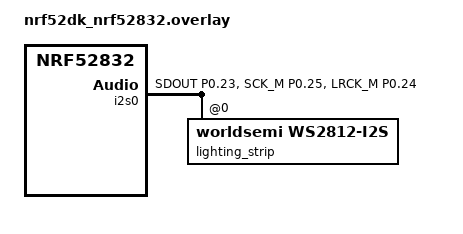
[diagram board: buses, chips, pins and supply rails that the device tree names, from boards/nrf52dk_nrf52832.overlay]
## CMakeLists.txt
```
cmake_minimum_required(VERSION 3.20.0)
find_package(Zephyr REQUIRED HINTS $ENV{ZEPHYR_BASE})

project(meshlight)

zephyr_get(MESHLIGHT_VERSION)
zephyr_get(MESHLIGHT_GIT_SHA)
set(MESHLIGHT_VERSION "${MESHLIGHT_VERSION}" CACHE STRING "Resolved firmware SemVer (CI override)")
set(MESHLIGHT_GIT_SHA "${MESHLIGHT_GIT_SHA}" CACHE STRING "Firmware source revision (CI override)")
find_package(Python3 REQUIRED COMPONENTS Interpreter)
find_package(Git REQUIRED)
if(NOT MESHLIGHT_VERSION)
  # Reconfigure the generated header when commits, refs, tags, or the resolver change.
  execute_process(COMMAND ${GIT_EXECUTABLE} rev-parse --absolute-git-dir
    WORKING_DIRECTORY ${CMAKE_CURRENT_SOURCE_DIR}
    OUTPUT_VARIABLE meshlight_git_dir OUTPUT_STRIP_TRAILING_WHITESPACE
    COMMAND_ERROR_IS_FATAL ANY)
  execute_process(COMMAND ${GIT_EXECUTABLE} rev-parse --path-format=absolute --git-common-dir
    WORKING_DIRECTORY ${CMAKE_CURRENT_SOURCE_DIR}
    OUTPUT_VARIABLE meshlight_git_common OUTPUT_STRIP_TRAILING_WHITESPACE
    COMMAND_ERROR_IS_FATAL ANY)
  file(GLOB_RECURSE meshlight_git_refs CONFIGURE_DEPENDS
    "${meshlight_git_common}/refs/heads/*" "${meshlight_git_common}/refs/tags/*")
  set_property(DIRECTORY APPEND PROPERTY CMAKE_CONFIGURE_DEPENDS
    "${CMAKE_CURRENT_SOURCE_DIR}/../VERSION"
    "${CMAKE_CURRENT_SOURCE_DIR}/../scripts/version.py"
    "${meshlight_git_dir}/HEAD" ${meshlight_git_refs})
  if(EXISTS "${meshlight_git_common}/packed-refs")
    set_property(DIRECTORY APPEND PROPERTY CMAKE_CONFIGURE_DEPENDS
      "${meshlight_git_common}/packed-refs")
  endif()
  execute_process(
    COMMAND ${Python3_EXECUTABLE} ${CMAKE_CURRENT_SOURCE_DIR}/../scripts/version.py --format version
    OUTPUT_VARIABLE MESHLIGHT_VERSION OUTPUT_STRIP_TRAILING_WHITESPACE
    COMMAND_ERROR_IS_FATAL ANY)
endif()
if(NOT MESHLIGHT_VERSION MATCHES "^[0-9]+\\.[0-9]+\\.[0-9]+[-+a-zA-Z0-9.]*$")
  message(FATAL_ERROR "Invalid MESHLIGHT_VERSION: ${MESHLIGHT_VERSION}")
endif()
if(NOT MESHLIGHT_GIT_SHA)
  execute_process(COMMAND ${GIT_EXECUTABLE} rev-parse HEAD
    WORKING_DIRECTORY ${CMAKE_CURRENT_SOURCE_DIR}
    OUTPUT_VARIABLE MESHLIGHT_GIT_SHA OUTPUT_STRIP_TRAILING_WHITESPACE
    COMMAND_ERROR_IS_FATAL ANY)
endif()
if(NOT MESHLIGHT_GIT_SHA MATCHES "^[0-9a-f]+$")
  message(FATAL_ERROR "Invalid MESHLIGHT_GIT_SHA: ${MESHLIGHT_GIT_SHA}")
endif()
configure_file(cmake/meshlight_version.h.in generated/meshlight_version.h @ONLY)
target_include_directories(app PRIVATE src ${CMAKE_CURRENT_BINARY_DIR}/generated)
message(STATUS "Meshlight version: ${MESHLIGHT_VERSION} (${MESHLIGHT_GIT_SHA})")

target_sources(app PRIVATE src/main.c)
add_subdirectory(src/storage)
add_subdirectory(src/lighting)
if(CONFIG_MESHLIGHT_MESH)
  add_subdirectory(src/mesh)
  add_subdirectory(src/device_control)
endif()
```

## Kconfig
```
# SPDX-License-Identifier: MIT

# Shared lighting options for the application and its production-module tests.
mainmenu "Meshlight configuration"

source "Kconfig.zephyr"

# Keep the optional command shell within the nRF52832's 64 KiB RAM budget.
config SHELL_MINIMAL
	default y if BOARD_NRF52DK_NRF52832
	depends on SHELL

menuconfig MESHLIGHT_MESH
	bool "Bluetooth Mesh lighting control"
	default n
	select HWINFO
	select GPIO
	select REBOOT

if MESHLIGHT_MESH
config MESHLIGHT_COMPANY_ID
	hex "Mesh company identifier (0xffff is the development placeholder)"
	default 0xffff
	range 0x0000 0xffff

config MESHLIGHT_MODEL_ID
	hex "Meshlight vendor model identifier"
	default 0x0001
	range 0x0000 0xffff

config MESHLIGHT_STM32WB_RNG_FIX
	bool "Protect STM32WB RNG clock and register access from CPU2"
	depends on BOARD_NUCLEO_WB55RG && BT_STM32_IPM && ENTROPY_STM32_RNG
	default y
	help
	  Correct the NCS 3.3.0 entropy driver's acquire order for the shared RNG.
	  Take the RNG hardware semaphore and restore its source clock before
	  accessing registers. CPU2 can switch that source clock off between uses.
	  The build generates a corrected driver without changing the SDK checkout.

config MESHLIGHT_STM32WB_PROXY_TX_FIX
	bool "Complete failed advertising sends after a GATT proxy start"
	depends on BOARD_NUCLEO_WB55RG && BT_STM32_IPM && BT_MESH_ADV_EXT && BT_MESH_GATT_PROXY
	default y
	help
	  Correct the NCS 3.3.0 mesh advertiser's failure callback when GATT has
	  already started the same packet. Without completion, a segmented reply
	  can remain stuck after the controller rejects advertising. Report the
	  actual advertising error and let transport continue or retry. The build
	  generates a corrected advertiser without changing the SDK checkout.

endif

menu "Lighting"

config LIGHTING_SAVE_DELAY_MS
	int "Quiet period before saving lighting (milliseconds)"
	default 1000
	range 1 60000

config LIGHTING_SAVE_RETRY_MS
	int "Delay before retrying a failed lighting save (milliseconds)"
	default 5000
	range 1 60000

config LIGHTING_PERSISTENCE_STACK_SIZE
	int "Lighting persistence worker stack size (bytes)"
	default 3072
	range 1024 8192

config LIGHTING_AUTO_REFRESH
	bool "Automatically refresh the LED strip"
	default y
	depends on LED_STRIP && MULTITHREADING
	select TIMEOUT_64BIT
	select LOG_RATELIMIT if LOG
	help
	  Start a private lighting thread after successful lighting initialization.
	  Setters update requested values, which appear on the next refresh.
	  Disable to use synchronous lighting_apply() calls exclusively.
	  Manual flushes remain available when the worker is enabled.

if LIGHTING_AUTO_REFRESH

config LIGHTING_REFRESH_INTERVAL_MS
	int "Lighting refresh interval (milliseconds)"
	default 50
	range 1 1000
	help
	  Time between scheduled frame starts. Late transfers skip missed slots
	  rather than queueing frames. This does not change WS2812 signal timing.

config LIGHTING_REFRESH_STACK_SIZE
	int "Lighting refresh thread stack size (bytes)"
	default 1536
	range 512 8192
	help
	  Statically allocated supervisor stack for rendering, the synchronous
	  strip driver, and rate-limited error logging. Adjust for the driver used.

endif # LIGHTING_AUTO_REFRESH

endmenu

config MESHLIGHT_DEV_SHELL
	bool "Developer UART shell"
	default n
	select SHELL
	select SHELL_BACKEND_SERIAL if !ZTEST
	help
	  Enable lighting commands over the board's existing debugger UART.
	  Disabled builds contain no developer shell commands or transport.
	  Use dev_shell.conf to enable this option in a developer build.
	  Commands use the lighting API and its normal background save policy.
```

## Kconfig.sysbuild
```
# SPDX-License-Identifier: MIT

config NRF_DEFAULT_IPC_RADIO
	default y

config NETCORE_IPC_RADIO_BT_HCI_IPC
	default y

# The board overlays own the standalone application and Settings partitions.
config PARTITION_MANAGER
	default n

source "share/sysbuild/Kconfig"
```

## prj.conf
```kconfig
# Shared lighting support; hardware-specific transport belongs in boards/.
CONFIG_LED_STRIP=y
CONFIG_LOG=y
CONFIG_BUILD_OUTPUT_HEX=y
CONFIG_BUILD_OUTPUT_BIN=y
CONFIG_FLASH=y
CONFIG_FLASH_MAP=y
CONFIG_FLASH_PAGE_LAYOUT=y
CONFIG_USE_DT_CODE_PARTITION=y
CONFIG_SETTINGS=y
CONFIG_ZCBOR=y
CONFIG_ZCBOR_CANONICAL=y
CONFIG_LOG_RATELIMIT=y

# One portable mesh element, independent of strip length.
CONFIG_MESHLIGHT_MESH=y
CONFIG_BT=y
CONFIG_BT_MESH=y
CONFIG_BT_SETTINGS=y
CONFIG_BT_DEVICE_NAME="Meshlight"
CONFIG_BT_OBSERVER=y
CONFIG_BT_BROADCASTER=y
CONFIG_BT_PERIPHERAL=y
CONFIG_BT_MAX_CONN=1
CONFIG_BT_MESH_PB_GATT=y
CONFIG_BT_MESH_PB_ADV=y
CONFIG_BT_MESH_RELAY=y
CONFIG_BT_MESH_RELAY_ENABLED=y
CONFIG_BT_MESH_GATT_PROXY=y
CONFIG_BT_MESH_GATT_PROXY_ENABLED=y
CONFIG_BT_MESH_BEACON_ENABLED=y
CONFIG_BT_MESH_DEFAULT_TTL=7
CONFIG_BT_MESH_LOW_POWER=n
CONFIG_BT_MESH_FRIEND=n
CONFIG_BT_MESH_CRPL=32
CONFIG_BT_MESH_SUBNET_COUNT=2
CONFIG_BT_MESH_APP_KEY_COUNT=2
# Allow both subnet key generations and temporary crypto keys during refresh.
CONFIG_MBEDTLS_PSA_KEY_SLOT_COUNT=32
CONFIG_BT_MESH_MODEL_KEY_COUNT=2
CONFIG_BT_MESH_MODEL_GROUP_COUNT=4
CONFIG_BT_MESH_ADV_BUF_COUNT=20
CONFIG_BT_MESH_TX_SEG_MAX=6
CONFIG_BT_RX_STACK_SIZE=5120
CONFIG_MAIN_STACK_SIZE=4096
CONFIG_SYSTEM_WORKQUEUE_STACK_SIZE=4096
CONFIG_PSA_WANT_ALG_SHA_256=y
```

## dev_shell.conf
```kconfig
# Developer build: append with -DEXTRA_CONF_FILE=dev_shell.conf
CONFIG_MESHLIGHT_DEV_SHELL=y
CONFIG_LOG_BACKEND_UART=n
CONFIG_SHELL_LOG_BACKEND=y
```

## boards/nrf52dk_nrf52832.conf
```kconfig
# SPDX-License-Identifier: MIT
# I2S DMA avoids gaps between the nRF52832's short SPIM transactions.
CONFIG_I2S=y
CONFIG_WS2812_STRIP_I2S=y
CONFIG_NVS=y
CONFIG_SETTINGS_NVS=y
CONFIG_NVS_DATA_CRC=y
CONFIG_SETTINGS_NVS_SECTOR_COUNT=8
# Reserve space for PSA key operations within the nRF52832 RAM budget.
CONFIG_MBEDTLS_HEAP_SIZE=4096

# The nRF52832 has 64 KiB RAM, shared by the application and radio controller.
# Keep separate Mesh and GATT advertising sets, without reserving unused sets.
CONFIG_BT_EXT_ADV_MAX_ADV_SET=2
CONFIG_BT_MESH_RELAY_ADV_SETS=0
CONFIG_BT_CTLR_SDC_SCAN_BUFFER_COUNT=2
CONFIG_BT_CTLR_LE_ENC=n
CONFIG_BT_PHY_UPDATE=n
CONFIG_BT_CTLR_CHAN_SEL_2=n
CONFIG_BT_CTLR_MIN_USED_CHAN=n
CONFIG_BT_CTLR_PRIVACY=n
CONFIG_BT_BUF_EVT_RX_COUNT=4
CONFIG_BT_BUF_ACL_TX_COUNT=2
# PB-GATT queues the 65-byte Public Key in up to four notifications at ATT MTU 23.
# Keep this independent of the reduced ACL count, which otherwise defaults ATT to two.
CONFIG_BT_ATT_TX_COUNT=4
CONFIG_BT_BUF_EVT_RX_SIZE=80
CONFIG_BT_BUF_EVT_DISCARDABLE_COUNT=4
CONFIG_BT_BUF_CMD_TX_SIZE=65
CONFIG_MAIN_STACK_SIZE=2048
CONFIG_SYSTEM_WORKQUEUE_STACK_SIZE=2048
CONFIG_BT_RX_STACK_SIZE=3072
CONFIG_LIGHTING_PERSISTENCE_STACK_SIZE=2048
CONFIG_BT_MESH_ADV_BUF_COUNT=10
CONFIG_BT_MESH_RELAY_BUF_COUNT=4
CONFIG_LOG_BUFFER_SIZE=512
```

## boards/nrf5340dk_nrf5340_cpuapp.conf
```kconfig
# SPDX-License-Identifier: MIT
CONFIG_SPI=y
CONFIG_WS2812_STRIP_SPI=y
CONFIG_NVS=y
CONFIG_SETTINGS_NVS=y
CONFIG_NVS_DATA_CRC=y
CONFIG_SETTINGS_NVS_SECTOR_COUNT=8
CONFIG_MBEDTLS_HEAP_SIZE=8192
```

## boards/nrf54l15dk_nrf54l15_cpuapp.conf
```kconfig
# SPI21 drives the strip without blocking interrupts for GPIO bit-banging.
CONFIG_SPI=y
CONFIG_WS2812_STRIP_SPI=y
CONFIG_ZMS=y
CONFIG_SETTINGS_ZMS=y
# Persistent format: erase Settings once when migrating from onoff-app's
# CRC-disabled records. Keep this option unchanged on subsequent updates.
CONFIG_ZMS_DATA_CRC=y
CONFIG_ZMS_NO_DOUBLE_WRITE=y

# PSA keeps mesh key material on this heap. Include persistent-key operations,
# provisioning and both configured subnets/AppKeys, rather than the SDK's 1 KiB.
CONFIG_MBEDTLS_HEAP_SIZE=8192
```

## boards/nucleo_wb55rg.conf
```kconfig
# Keep the WS2812 bitstream continuous while the CPU runs other threads.
CONFIG_SPI=y
CONFIG_WS2812_STRIP_SPI=y
CONFIG_SPI_STM32_DMA=y

# The strip has no chip-select input; only MOSI and the unused SCK are routed.
CONFIG_SPI_STM32_USE_HW_SS=n
CONFIG_NVS=y
CONFIG_SETTINGS_NVS=y
CONFIG_NVS_DATA_CRC=y
CONFIG_SETTINGS_NVS_SECTOR_COUNT=8

# ST extended HCI firmware has a two-set legacy-PDU limit. Share one set.
CONFIG_BT_EXT_ADV=y
CONFIG_BT_MESH_ADV_EXT=y
CONFIG_BT_EXT_ADV_MAX_ADV_SET=1
CONFIG_BT_MESH_RELAY_ADV_SETS=0
CONFIG_BT_MESH_ADV_EXT_GATT_SEPARATE=n

# Allow brief radio contention without dropping the Proxy link after 420 ms.
# GAP's automatic parameter update and PPCP use units of 10 ms.
CONFIG_BT_PERIPHERAL_PREF_TIMEOUT=400
CONFIG_SECURE_STORAGE=y
CONFIG_TRUSTED_STORAGE=n
CONFIG_SECURE_STORAGE_ITS_STORE_IMPLEMENTATION_SETTINGS=y
CONFIG_MBEDTLS_HEAP_SIZE=16384
CONFIG_LOG_BUFFER_SIZE=8192
```

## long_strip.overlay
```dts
/* Compile-time capacity check for supported boards; normal builds use six. */
&lighting_strip { chain-length = <339>; };
```

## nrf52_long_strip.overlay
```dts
// SPDX-License-Identifier: MIT
/* The nRF52832's 64 KiB RAM budget supports a smaller capacity build. */
&lighting_strip { chain-length = <128>; };
```

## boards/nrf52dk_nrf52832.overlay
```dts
// SPDX-License-Identifier: MIT
#include <zephyr/dt-bindings/led/led.h>
#include <zephyr/dt-bindings/pinctrl/nrf-pinctrl.h>

/ {
	chosen {
		zephyr,code-partition = &app_partition;
	};
	aliases {
		led-strip = &lighting_strip;
	};
};

/* Standalone image; reserve eight 4 KiB pages for lighting and mesh Settings. */
/delete-node/ &boot_partition;
/delete-node/ &slot0_partition;
/delete-node/ &slot1_partition;
/delete-node/ &storage_partition;
&flash0 {
	partitions {
		app_partition: partition@0 {
			label = "image-0";
			reg = <0 0x78000>;
		};
		storage_partition: partition@78000 {
			label = "storage";
			reg = <0x78000 0x8000>;
		};
	};
};

&pinctrl {
	lighting_i2s_default: lighting_i2s_default {
		group1 {
			/* D11 is DIN; D13 and D12 are unused I2S clocks. */
			psels = <NRF_PSEL(I2S_SDOUT, 0, 23)>,
				<NRF_PSEL(I2S_SCK_M, 0, 25)>,
				<NRF_PSEL(I2S_LRCK_M, 0, 24)>;
		};
	};
	lighting_i2s_sleep: lighting_i2s_sleep {
		group1 {
			psels = <NRF_PSEL(I2S_SDOUT, 0, 23)>,
				<NRF_PSEL(I2S_SCK_M, 0, 25)>,
				<NRF_PSEL(I2S_LRCK_M, 0, 24)>;
			low-power-enable;
		};
	};
};

/* I2S DMA sends long strips continuously; nRF52832 SPIM has an 8-bit MAXCNT. */
&spi2 {
	status = "disabled";
};

&i2s0 {
	status = "okay";
	pinctrl-0 = <&lighting_i2s_default>;
	pinctrl-1 = <&lighting_i2s_sleep>;
	pinctrl-names = "default", "sleep";

	lighting_strip: ws2812@0 {
		compatible = "worldsemi,ws2812-i2s";
		reg = <0>;
		chain-length = <6>;
		color-mapping = <LED_COLOR_ID_GREEN LED_COLOR_ID_RED LED_COLOR_ID_BLUE>;
		/* 3.2 MHz bit clock: 1000 / 1100 give 312.5 / 625 ns high. */
		lrck-period = <10>;
		nibble-zero = <0x8>;
		nibble-one = <0xc>;
		reset-delay = <300>;
	};
};
```

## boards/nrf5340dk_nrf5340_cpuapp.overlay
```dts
// SPDX-License-Identifier: MIT
#include <zephyr/dt-bindings/led/led.h>
#include <zephyr/dt-bindings/pinctrl/nrf-pinctrl.h>

/ {
	chosen {
		zephyr,code-partition = &app_partition;
	};
	aliases {
		led-strip = &lighting_strip;
	};
};

/* Standalone application core image; retain the SDK's 32 KiB Settings area. */
/delete-node/ &boot_partition;
/delete-node/ &slot0_partition;
/delete-node/ &slot1_partition;
&flash0 {
	partitions {
		app_partition: partition@0 {
			label = "image-0";
			reg = <0 0xf8000>;
		};
	};
};

&pinctrl {
	lighting_spi_default: lighting_spi_default {
		group1 {
			/* Arduino D11 is DIN; leave D13 unconnected. */
			psels = <NRF_PSEL(SPIM_SCK, 1, 15)>,
				<NRF_PSEL(SPIM_MOSI, 1, 13)>;
		};
	};
	lighting_spi_sleep: lighting_spi_sleep {
		group1 {
			psels = <NRF_PSEL(SPIM_SCK, 1, 15)>,
				<NRF_PSEL(SPIM_MOSI, 1, 13)>;
			low-power-enable;
		};
	};
};

&spi4 {
	status = "okay";
	/delete-property/ cs-gpios;
	pinctrl-0 = <&lighting_spi_default>;
	pinctrl-1 = <&lighting_spi_sleep>;
	pinctrl-names = "default", "sleep";

	lighting_strip: ws2812@0 {
		compatible = "worldsemi,ws2812-spi";
		reg = <0>;
		chain-length = <6>;
		color-mapping = <LED_COLOR_ID_GREEN LED_COLOR_ID_RED LED_COLOR_ID_BLUE>;
		/* Five 250 ns SPI bits give an 800 kbit/s WS2812 symbol. */
		spi-max-frequency = <4000000>;
		bits-per-symbol = <5>;
		spi-zero-frame = <0x18>;
		spi-one-frame = <0x1c>;
		reset-delay = <300>;
	};
};
```

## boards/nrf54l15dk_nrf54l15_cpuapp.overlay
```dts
#include <zephyr/dt-bindings/led/led.h>
#include <zephyr/dt-bindings/pinctrl/nrf-pinctrl.h>

/ {
	chosen {
		zephyr,code-partition = &app_partition;
	};
	aliases {
		/* The lighting module depends only on this board-independent alias. */
		led-strip = &lighting_strip;
	};
};

/* Standalone image boots at zero; retain the SDK's final 36 KiB for Settings. */
/delete-node/ &boot_partition;
/delete-node/ &slot0_partition;
/delete-node/ &slot1_partition;
&cpuapp_rram {
	partitions {
		app_partition: partition@0 {
			label = "image-0";
			reg = <0 0x15c000>;
		};
	};
};

&pinctrl {
	lighting_spi_default: lighting_spi_default {
		group1 {
			/* Connect P1.12 to DIN; reserve P1.11 but leave it unconnected. */
			psels = <NRF_PSEL(SPIM_SCK, 1, 11)>,
				<NRF_PSEL(SPIM_MOSI, 1, 12)>;
		};
	};

	lighting_spi_sleep: lighting_spi_sleep {
		group1 {
			psels = <NRF_PSEL(SPIM_SCK, 1, 11)>,
				<NRF_PSEL(SPIM_MOSI, 1, 12)>;
			low-power-enable;
		};
	};
};

/* SPI21 shares an instance with I2C21/UART21, which remain disabled. */
&spi21 {
	status = "okay";
	pinctrl-0 = <&lighting_spi_default>;
	pinctrl-1 = <&lighting_spi_sleep>;
	pinctrl-names = "default", "sleep";

	lighting_strip: ws2812@0 {
		compatible = "worldsemi,ws2812-spi";
		reg = <0>;
		/* One source of truth for both the driver and application buffer. */
		chain-length = <6>;
		color-mapping = <LED_COLOR_ID_GREEN LED_COLOR_ID_RED LED_COLOR_ID_BLUE>;
		/*
		 * Five 250 ns SPI bits give an 800 kbit/s WS2812 symbol:
		 * zero = 11000 (500 ns high), one = 11100 (750 ns high).
		 * No MISO or chip-select connection is required.
		 */
		spi-max-frequency = <4000000>;
		bits-per-symbol = <5>;
		spi-zero-frame = <0x18>;
		spi-one-frame = <0x1c>;
		/* Covers the longer latch interval required by newer strip variants. */
		reset-delay = <300>;
	};
};
```

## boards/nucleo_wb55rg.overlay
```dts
#include <zephyr/dt-bindings/dma/stm32_dma.h>
#include <zephyr/dt-bindings/led/led.h>

/ {
	chosen {
		zephyr,code-partition = &app_partition;
	};
	aliases {
		/* Reuse the same lighting module and six-pixel demo on this board. */
		led-strip = &lighting_strip;
	};
};

/* The SoC exposes 808 KiB. Reserve eight 4 KiB pages for lighting and mesh. */
/delete-node/ &boot_partition;
/delete-node/ &slot0_partition;
/delete-node/ &slot1_partition;
/delete-node/ &storage_partition;
&flash0 {
	partitions {
		app_partition: partition@0 {
			label = "image-0";
			reg = <0 0xc2000>;
		};
		storage_partition: partition@c2000 {
			label = "storage";
			reg = <0xc2000 0x8000>;
		};
	};
};

/* ST extended HCI-only CPU2 firmware mailbox layout (as verified in onoff-app). */
&usart1 {
	current-speed = <115200>;
	/delete-property/ hw-flow-control;
};
&lpuart1 {
	/delete-property/ hw-flow-control;
	status = "disabled";
};
&sram1 { reg = <0x20030000 0x800>; };
&sram2 { reg = <0x20038000 0x2800>; };

&spi1 {
	status = "okay";
	/* DIN: PA7 / Arduino D11 / CN5 pin 4. Leave PA5 / D13 unconnected. */
	pinctrl-0 = <&spi1_sck_pa5 &spi1_mosi_pa7>;
	pinctrl-names = "default";

	/* DMAMUX requests 7/6 select SPI1 TX/RX on DMA1 channels 1/2. */
	dmas = <&dmamux1 0 7 (STM32_DMA_PERIPH_TX | STM32_DMA_PRIORITY_HIGH)>,
	       <&dmamux1 1 6 (STM32_DMA_PERIPH_RX | STM32_DMA_PRIORITY_HIGH)>;
	dma-names = "tx", "rx";

	lighting_strip: ws2812@0 {
		compatible = "worldsemi,ws2812-spi";
		reg = <0>;
		/* One source of truth for the driver and application framebuffer. */
		chain-length = <6>;
		color-mapping = <LED_COLOR_ID_GREEN LED_COLOR_ID_RED LED_COLOR_ID_BLUE>;
		/*
		 * The default 32 MHz APB2 clock divides exactly to 8 MHz.
		 * Each WS2812 bit uses one byte: 11000000 for zero (250 ns high,
		 * 750 ns low), 11111000 for one (625 ns high, 375 ns low).
		 * DMA keeps the encoded bytes in one continuous transfer.
		 */
		spi-max-frequency = <8000000>;
		bits-per-symbol = <8>;
		spi-zero-frame = <0xc0>;
		spi-one-frame = <0xf8>;
		reset-delay = <300>;
	};
};

/* Only DMA1 is needed for the two selected DMAMUX channels. */
&dma1 {
	status = "okay";
};

&dmamux1 {
	status = "okay";
};
```

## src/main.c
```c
// SPDX-License-Identifier: MIT

/** @file Initialize durable state before exposing any mesh control. */
#include <zephyr/logging/log.h>

#include "lighting/lighting.h"
#include "meshlight_version.h"
#include "storage/storage.h"
#if defined(CONFIG_MESHLIGHT_MESH)
#include "device_control/device_control.h"
#include "mesh/mesh.h"
#endif

LOG_MODULE_REGISTER(meshlight);

int main(void)
{
	int err;

	LOG_INF("Meshlight %s (%s)", MESHLIGHT_VERSION_STRING, MESHLIGHT_GIT_SHA);
#if defined(CONFIG_MESHLIGHT_MESH)
	err = storage_init();
	if (!err) {
		err = device_control_recover();
	}
	if (err) {
		LOG_ERR("Storage/reset recovery failed (%d)", err);
		/* Keep the recovery button available, but never provision with lost keys. */
		(void)device_control_init();
		return err;
	}
	err = device_control_init();
	if (err) {
		LOG_ERR("Reset button initialization failed (%d)", err);
		return err;
	}
#endif
	err = lighting_init();
	if (err != 0) {
		LOG_ERR("Lighting initialization failed (%d)", err);
		return err;
	}
	LOG_INF("Lighting ready");
#if defined(CONFIG_MESHLIGHT_MESH)
	if (!device_control_resetting()) {
		return mesh_init();
	}
#endif
	return 0;
}
```

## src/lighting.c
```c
// SPDX-License-Identifier: MIT

/**
 * @file
 * @brief Private per-LED selections and one gamma-corrected strip output path.
 *
 * Setters change requested values. A private periodic thread applies them;
 * callers may also request a synchronous flush. A separate framebuffer
 * protects requested values from drivers that overwrite their input.
 */

/*
 * ============================================================================
 * INCLUDES
 * ============================================================================
 */

#include "lighting.h"
#include "lighting_gamma_table.h"

#include <errno.h>

#include <zephyr/device.h>
#include <zephyr/devicetree.h>
#include <zephyr/kernel.h>
#include <zephyr/logging/log.h>
#include <zephyr/sys/util.h>

/*
 * ============================================================================
 * MACROS AND CONSTANTS
 * ============================================================================
 */

/* Board configuration owns transport, pin routing, color order, and length. */
#define STRIP_NODE DT_ALIAS(led_strip)
#define STRIP_LENGTH DT_PROP(STRIP_NODE, chain_length)

/* Lower urgency than application control threads; rendering can block on SPI. */
#define REFRESH_THREAD_PRIORITY 7
#define REFRESH_ERROR_LOG_INTERVAL_MS 1000U

BUILD_ASSERT(DT_NODE_HAS_STATUS(STRIP_NODE, okay), "An enabled led-strip alias is required");
BUILD_ASSERT(STRIP_LENGTH > 0, "The LED strip must contain at least one pixel");
BUILD_ASSERT(ARRAY_SIZE(gamma_table) == 256U, "Gamma table must cover every 8-bit value");

#if defined(CONFIG_LIGHTING_AUTO_REFRESH)
BUILD_ASSERT(REFRESH_THREAD_PRIORITY < CONFIG_NUM_PREEMPT_PRIORITIES,
	     "Lighting refresh requires preemptible priority 7");
#endif

/* Immutable reference to the strip selected by this board's devicetree. */
static const struct device *const strip = DEVICE_DT_GET(STRIP_NODE);

/*
 * ============================================================================
 * DEFINITIONS
 * ============================================================================
 */

/* Only this module owns selections and transfer memory; no heap is needed. */
static struct lighting_led_state led_states[STRIP_LENGTH];
static struct led_rgb framebuffer[STRIP_LENGTH];
static bool strip_on;
static bool initialized;

/* Hold through each complete transfer so setters cannot change a live frame. */
K_MUTEX_DEFINE(lighting_mutex);

#if defined(CONFIG_LIGHTING_AUTO_REFRESH)
LOG_MODULE_REGISTER(lighting);

/* Created once, only after the strip's initial clear succeeds; no heap or timer. */
static K_KERNEL_STACK_DEFINE(refresh_stack, CONFIG_LIGHTING_REFRESH_STACK_SIZE);
static struct k_thread refresh_thread;
static int64_t first_refresh_ms;
#endif

/*
 * ============================================================================
 * PRIVATE FUNCTION DECLARATIONS
 * ============================================================================
 */

static int lock_lighting(void);
static int lock_initialized(void);
static uint8_t render_channel(uint8_t channel, uint8_t intensity);
static int render_frame(void);
#if defined(CONFIG_LIGHTING_AUTO_REFRESH)
static void refresh_entry(void *unused_a, void *unused_b, void *unused_c);
#endif

/*
 * ============================================================================
 * PUBLIC FUNCTION DEFINITIONS
 * ============================================================================
 */

int lighting_init(void)
{
	int err = lock_lighting();

	if (err != 0) {
		return err;
	}
	if (initialized) {
		goto out;
	}
	if (!device_is_ready(strip)) {
		err = -ENODEV;
		goto out;
	}

	/* Before first success, setters are unavailable and strip_on is false. */
	err = render_frame();
	if (err == 0) {
		for (size_t i = 0; i < ARRAY_SIZE(led_states); i++) {
			led_states[i] = (struct lighting_led_state){
				.intensity = LIGHTING_INTENSITY_MAX,
			};
		}
		initialized = true;

#if defined(CONFIG_LIGHTING_AUTO_REFRESH)
		/* Anchor timing before starting; the worker waits one full interval. */
		first_refresh_ms = k_uptime_get() + CONFIG_LIGHTING_REFRESH_INTERVAL_MS;
		k_thread_create(&refresh_thread, refresh_stack,
				K_KERNEL_STACK_SIZEOF(refresh_stack), refresh_entry,
				NULL, NULL, NULL, K_PRIO_PREEMPT(REFRESH_THREAD_PRIORITY),
				0, K_NO_WAIT);
#endif
	}

out:
	k_mutex_unlock(&lighting_mutex);
	return err;
}

size_t lighting_get_led_count(void)
{
	return STRIP_LENGTH;
}

int lighting_set_led(size_t index, const struct lighting_led_state *state)
{
	int err;

	if (state == NULL) {
		return -EINVAL;
	}
	if (index >= STRIP_LENGTH || state->intensity > LIGHTING_INTENSITY_MAX) {
		return -ERANGE;
	}
	err = lock_initialized();
	if (err != 0) {
		return err;
	}

	led_states[index] = *state;
	k_mutex_unlock(&lighting_mutex);
	return 0;
}

int lighting_set_all(const struct lighting_led_state *state)
{
	int err;

	if (state == NULL) {
		return -EINVAL;
	}
	if (state->intensity > LIGHTING_INTENSITY_MAX) {
		return -ERANGE;
	}
	err = lock_initialized();
	if (err != 0) {
		return err;
	}

	/* One lock makes the entire all-LED selection indivisible to apply. */
	for (size_t i = 0; i < ARRAY_SIZE(led_states); i++) {
		led_states[i] = *state;
	}
	k_mutex_unlock(&lighting_mutex);
	return 0;
}

int lighting_get_led(size_t index, struct lighting_led_state *state)
{
	int err;

	if (state == NULL) {
		return -EINVAL;
	}
	if (index >= STRIP_LENGTH) {
		return -ERANGE;
	}
	err = lock_initialized();
	if (err != 0) {
		return err;
	}

	*state = led_states[index];
	k_mutex_unlock(&lighting_mutex);
	return 0;
}

int lighting_set_on(bool on)
{
	int err = lock_initialized();

	if (err != 0) {
		return err;
	}

	strip_on = on;
	k_mutex_unlock(&lighting_mutex);
	return 0;
}

int lighting_get_on(bool *on)
{
	int err;

	if (on == NULL) {
		return -EINVAL;
	}
	err = lock_initialized();
	if (err != 0) {
		return err;
	}

	*on = strip_on;
	k_mutex_unlock(&lighting_mutex);
	return 0;
}

int lighting_apply(void)
{
	int err = lock_initialized();

	if (err != 0) {
		return err;
	}

	err = render_frame();
	k_mutex_unlock(&lighting_mutex);
	return err;
}

/*
 * ============================================================================
 * PRIVATE FUNCTION DEFINITIONS
 * ============================================================================
 */

/** Reject ISR callers before taking a sleeping mutex or using the strip API. */
static int lock_lighting(void)
{
	if (k_is_in_isr()) {
		return -EWOULDBLOCK;
	}

	return k_mutex_lock(&lighting_mutex, K_FOREVER);
}

/** Return with the mutex held only if initialization has succeeded. */
static int lock_initialized(void)
{
	int err = lock_lighting();

	if (err != 0) {
		return err;
	}
	if (!initialized) {
		k_mutex_unlock(&lighting_mutex);
		return -ENODEV;
	}

	return 0;
}

/** Scale with half-up rounding, then apply gamma without floating-point code. */
static uint8_t render_channel(uint8_t channel, uint8_t intensity)
{
	uint32_t scaled = ((uint32_t)channel * intensity + LIGHTING_INTENSITY_MAX / 2U) /
			  LIGHTING_INTENSITY_MAX;

	return gamma_table[scaled];
}

/**
 * Render and transmit a complete frame while holding lighting_mutex.
 * Refill every pixel, including optional scratch space, on every attempt:
 * Zephyr drivers may overwrite their input on successful or failed transfers.
 * Never pass the requested-state array to the driver or gamma-correct it in
 * place; repeated applies must give identical output without cumulative loss.
 */
static int render_frame(void)
{
	for (size_t i = 0; i < ARRAY_SIZE(framebuffer); i++) {
		const struct lighting_led_state *state = &led_states[i];
		struct led_rgb color = {0};

		if (strip_on) {
			color.r = render_channel(state->rgb.r, state->intensity);
			color.g = render_channel(state->rgb.g, state->intensity);
			color.b = render_channel(state->rgb.b, state->intensity);
		}
		framebuffer[i] = color;
	}

	return led_strip_update_rgb(strip, framebuffer, ARRAY_SIZE(framebuffer));
}

#if defined(CONFIG_LIGHTING_AUTO_REFRESH)
/**
 * Refresh from thread context on an absolute uptime schedule.
 * Adding an interval to the previous deadline avoids accumulating SPI and
 * logging execution time. Skip elapsed slots after delays: only the latest
 * selection matters, so missed frames must never create a catch-up loop.
 */
static void refresh_entry(void *unused_a, void *unused_b, void *unused_c)
{
	const int64_t period_ms = CONFIG_LIGHTING_REFRESH_INTERVAL_MS;
	int64_t deadline_ms = first_refresh_ms;

	ARG_UNUSED(unused_a);
	ARG_UNUSED(unused_b);
	ARG_UNUSED(unused_c);

	while (true) {
		int64_t now_ms;
		int err;

		/* Recheck the deadline even if a kernel wakeup interrupts the sleep. */
		while (k_uptime_get() < deadline_ms) {
			k_sleep(K_TIMEOUT_ABS_MS(deadline_ms));
		}
		err = lighting_apply();
		if (err != 0) {
			LOG_ERR_RATELIMIT_RATE(REFRESH_ERROR_LOG_INTERVAL_MS,
					      "LED strip refresh failed (%d)", err);
		}

		deadline_ms += period_ms;
		now_ms = k_uptime_get();
		if (deadline_ms <= now_ms) {
			deadline_ms += ((now_ms - deadline_ms) / period_ms + 1) * period_ms;
		}
	}
}
#endif
```

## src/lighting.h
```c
/* SPDX-License-Identifier: MIT */

/**
 * @file
 * @brief Staged per-LED RGB and intensity control for a single strip.
 *
 * Setters only change the requested state. With CONFIG_LIGHTING_AUTO_REFRESH,
 * a private thread displays it at the next refresh (50 ms by default), including
 * on/off changes. lighting_apply() remains an optional synchronous flush; it
 * is required when automatic refresh is disabled. Getters return requested
 * values, not hardware readback. Each call is serialized, but separate setters
 * are not an atomic batch: a refresh may display intermediate selections.
 * Except for lighting_get_led_count(), all calls require thread context.
 */

#ifndef MESHLIGHT_LIGHTING_H_
#define MESHLIGHT_LIGHTING_H_

#include <stdbool.h>
#include <stddef.h>
#include <stdint.h>

#include <zephyr/drivers/led_strip.h>

#ifdef __cplusplus
extern "C" {
#endif

/** Maximum per-LED intensity, in percent. */
#define LIGHTING_INTENSITY_MAX 100U

/** Requested color and intensity of one LED, before output processing. */
struct lighting_led_state {
	/** RGB channels, each 0..255; optional Zephyr scratch space is ignored. */
	struct led_rgb rgb;
	/** Intensity in percent, inclusive range 0..100. */
	uint8_t intensity;
};

/*
 * ============================================================================
 * PUBLIC FUNCTION DECLARATIONS
 * ============================================================================
 */

/**
 * @brief Initialize the strip and transmit black to every configured LED.
 *
 * Initial requested values are black RGB, 100% intensity, and power off.
 * Successful repeated calls preserve all requested values and do not transmit.
 * Initialization failures can be retried; other controls remain unavailable
 * until clearing the strip succeeds.
 *
 * With automatic refresh enabled, starts one private preemptible thread after
 * successful initialization. Its first deadline is one configured interval
 * later. Repeated calls do not create another thread or restart its schedule.
 *
 * @retval 0 Successfully initialized, or already initialized.
 * @retval -ENODEV The configured strip device is not ready.
 * @retval -EWOULDBLOCK Called from interrupt context.
 * @return A negative driver error if clearing the strip fails.
 */
int lighting_init(void);

/**
 * @brief Return the immutable LED count from devicetree chain-length.
 *
 * Does not access hardware or acquire a mutex. Available before initialization
 * and from any context. Indices follow strip order, starting at the DIN end.
 *
 * @return Number of LEDs; always greater than zero.
 */
size_t lighting_get_led_count(void);

/**
 * @brief Stage RGB and intensity for one LED without transmitting.
 *
 * Copies the supplied value; the caller retains ownership. Other LEDs and the
 * strip-wide power selection are preserved. Automatic refresh displays the
 * request at the next frame; lighting_apply() can flush it immediately. Success
 * means the request was stored, not that a hardware transfer succeeded.
 *
 * @param index Zero-based LED index, less than lighting_get_led_count().
 * @param state Requested RGB and intensity.
 * @retval 0 Requested values stored.
 * @retval -EINVAL The state pointer is NULL.
 * @retval -ERANGE The index is out of range or intensity exceeds 100%.
 * @retval -ENODEV Initialization has not succeeded.
 * @retval -EWOULDBLOCK Called from interrupt context.
 */
int lighting_set_led(size_t index, const struct lighting_led_state *state);

/**
 * @brief Stage the same RGB and intensity for every LED without transmitting.
 *
 * Copies the supplied value to every LED under one lock. Preserves the
 * strip-wide power selection. Automatic refresh displays the request at the
 * next frame; lighting_apply() can flush it immediately. Success means the
 * request was stored, not that a hardware transfer succeeded.
 *
 * @param state Requested RGB and intensity for all LEDs.
 * @retval 0 Requested values stored.
 * @retval -EINVAL The state pointer is NULL.
 * @retval -ERANGE Intensity exceeds 100%.
 * @retval -ENODEV Initialization has not succeeded.
 * @retval -EWOULDBLOCK Called from interrupt context.
 */
int lighting_set_all(const struct lighting_led_state *state);

/**
 * @brief Copy one LED's requested RGB and intensity into caller-owned storage.
 *
 * Reports staged values even before apply or after a failed transfer. The
 * caller's output is unchanged on error. Does not transmit.
 *
 * @param index Zero-based LED index, less than lighting_get_led_count().
 * @param state Destination snapshot.
 * @retval 0 Snapshot copied.
 * @retval -EINVAL The destination pointer is NULL.
 * @retval -ERANGE The index is out of range.
 * @retval -ENODEV Initialization has not succeeded.
 * @retval -EWOULDBLOCK Called from interrupt context.
 */
int lighting_get_led(size_t index, struct lighting_led_state *state);

/**
 * @brief Stage the strip-wide power setting without transmitting.
 *
 * Off makes the next apply transmit black while retaining every LED's RGB and
 * intensity. On makes the next apply render those selections, including zero
 * intensity. No color or intensity is changed by this call.
 * Automatic refresh applies the selection at the next frame; a synchronous
 * lighting_apply() can apply it immediately. This call does not confirm output.
 *
 * @param on True to render selections; false to render black.
 * @retval 0 Requested power setting stored.
 * @retval -ENODEV Initialization has not succeeded.
 * @retval -EWOULDBLOCK Called from interrupt context.
 */
int lighting_set_on(bool on);

/**
 * @brief Copy the requested strip-wide power setting.
 *
 * Does not transmit. The caller's output is unchanged on error.
 *
 * @param on Destination snapshot, owned by the caller.
 * @retval 0 Snapshot copied.
 * @retval -EINVAL The destination pointer is NULL.
 * @retval -ENODEV Initialization has not succeeded.
 * @retval -EWOULDBLOCK Called from interrupt context.
 */
int lighting_get_on(bool *on);

/**
 * @brief Render and synchronously transmit the complete requested strip state.
 *
 * While on, each channel is first scaled with half-up rounding:
 * scaled = (channel * intensity + 50) / 100. A fixed gamma-2.2 lookup table
 * then maps scaled to round(255 * (scaled / 255)^2.2). Thus RGB components
 * below 255 are gamma-corrected even at 100% intensity. Zero stays black;
 * small nonzero values may also round to black. While off, all output is black.
 *
 * Always transmits, even if nothing changed. Requested values survive driver
 * failures so another apply can retry. A failed transfer may partially change
 * the physical strip; there is no hardware readback or rollback guarantee.
 * The background worker uses this same serialized path and retries at its
 * next scheduled refresh, logging failures at most once per second. Manual
 * calls do not change the worker's schedule. Timing is subject to scheduler
 * latency and transfer duration; missed slots are skipped without catch-up.
 *
 * @retval 0 The driver accepted the complete frame.
 * @retval -ENODEV Initialization has not succeeded.
 * @retval -EWOULDBLOCK Called from interrupt context.
 * @return A negative driver error on transfer failure.
 */
int lighting_apply(void);

#ifdef __cplusplus
}
#endif

#endif /* MESHLIGHT_LIGHTING_H_ */
```

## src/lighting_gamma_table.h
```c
/* SPDX-License-Identifier: MIT */

/**
 * @file
 * @brief Private gamma-2.2 table, indexed by an intensity-scaled RGB channel.
 *
 * Generated with Python (positive values use nearest, half-up rounding):
 *
 *     import math
 *     values = [math.floor(255 * (i / 255.0) ** 2.2 + 0.5) for i in range(256)]
 *
 * Storing 256 bytes of read-only data avoids runtime floating-point math.
 * Zero maps to zero and 255 maps to 255. Low nonzero inputs can map to zero
 * because the strip accepts only eight bits per channel; no minimum-output
 * clamp or temporal dithering is applied. Include only from lighting.c.
 */

#ifndef MESHLIGHT_LIGHTING_GAMMA_TABLE_H_
#define MESHLIGHT_LIGHTING_GAMMA_TABLE_H_

#include <stdint.h>

/** Output duty values for all possible scaled eight-bit channel inputs. */
static const uint8_t gamma_table[] = {
	  0,   0,   0,   0,   0,   0,   0,   0,   0,   0,   0,   0,   0,   0,   0,   1,
	  1,   1,   1,   1,   1,   1,   1,   1,   1,   2,   2,   2,   2,   2,   2,   2,
	  3,   3,   3,   3,   3,   4,   4,   4,   4,   5,   5,   5,   5,   6,   6,   6,
	  6,   7,   7,   7,   8,   8,   8,   9,   9,   9,  10,  10,  11,  11,  11,  12,
	 12,  13,  13,  13,  14,  14,  15,  15,  16,  16,  17,  17,  18,  18,  19,  19,
	 20,  20,  21,  22,  22,  23,  23,  24,  25,  25,  26,  26,  27,  28,  28,  29,
	 30,  30,  31,  32,  33,  33,  34,  35,  35,  36,  37,  38,  39,  39,  40,  41,
	 42,  43,  43,  44,  45,  46,  47,  48,  49,  49,  50,  51,  52,  53,  54,  55,
	 56,  57,  58,  59,  60,  61,  62,  63,  64,  65,  66,  67,  68,  69,  70,  71,
	 73,  74,  75,  76,  77,  78,  79,  81,  82,  83,  84,  85,  87,  88,  89,  90,
	 91,  93,  94,  95,  97,  98,  99, 100, 102, 103, 105, 106, 107, 109, 110, 111,
	113, 114, 116, 117, 119, 120, 121, 123, 124, 126, 127, 129, 130, 132, 133, 135,
	137, 138, 140, 141, 143, 145, 146, 148, 149, 151, 153, 154, 156, 158, 159, 161,
	163, 165, 166, 168, 170, 172, 173, 175, 177, 179, 181, 182, 184, 186, 188, 190,
	192, 194, 196, 197, 199, 201, 203, 205, 207, 209, 211, 213, 215, 217, 219, 221,
	223, 225, 227, 229, 231, 234, 236, 238, 240, 242, 244, 246, 248, 251, 253, 255,
};

#endif /* MESHLIGHT_LIGHTING_GAMMA_TABLE_H_ */
```
